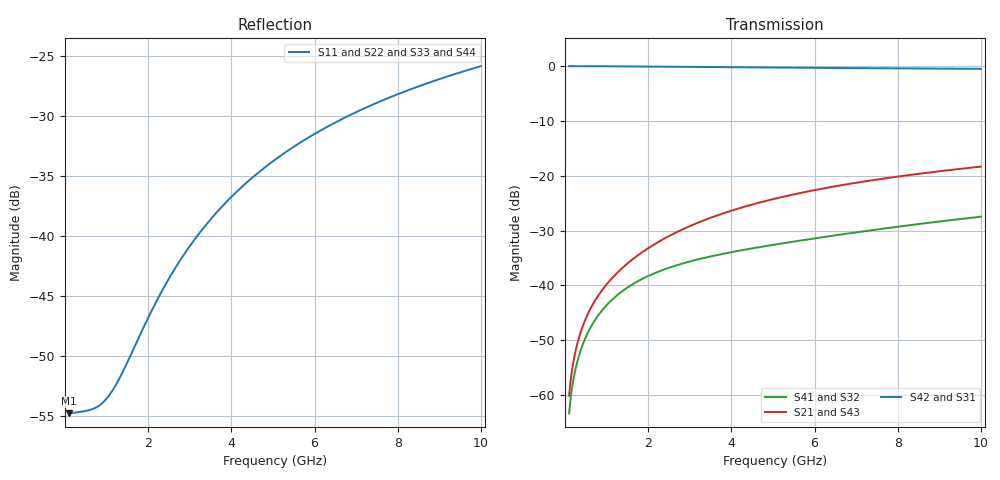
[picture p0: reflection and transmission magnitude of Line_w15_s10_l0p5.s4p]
! TOUCHSTONE file generated by CST MICROWAVE STUDIO
! Date and time: Mon Oct 20 11:14:17 2014
! Project name: Untitled_1.cst
# GHZ S MA R 50
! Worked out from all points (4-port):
!   1001 points, 100 MHz to 10 GHz, reference 50 ohm
!   strongest paths, dB at 100 MHz, 2.575 GHz, 5.05 GHz, 7.525 GHz, 10 GHz:
!     S42: 0.0, -0.1, -0.3, -0.4, -0.5
!     S31: 0.0, -0.1, -0.3, -0.4, -0.5
!     S21: -60.1, -30.7, -24.2, -20.7, -18.3
!     S43: -60.1, -30.7, -24.2, -20.7, -18.3
!     S41: -63.3, -36.6, -32.6, -29.8, -27.5
!     S32: -63.3, -36.6, -32.6, -29.8, -27.5
!   lowest |S11| = -54.7 dB at 100 MHz (marker M1), VSWR 1.00, Z = 50.2 - j0.0204 ohm
!   |S11| at or under -10 dB: start of sweep to end of sweep
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0.1  0.001833 -6.4  0.000987 90.4  0.9981 -0.2  0.0006801 -91.1
     0.000987 90.4  0.001833 -6.4  0.0006801 -91.1  0.9981 -0.2
     0.9981 -0.2  0.0006801 -91.1  0.001833 -6.4  0.000987 90.4
     0.0006801 -91.1  0.9981 -0.2  0.000987 90.4  0.001833 -6.4
0.3475  0.001857 -23.4  0.003439 91.3  0.9978 -0.8  0.00235 -93.6
        0.003439 91.3  0.00186 -23.6  0.00235 -93.6  0.9978 -0.8
        0.9978 -0.8  0.00235 -93.6  0.001857 -23.4  0.003439 91.3
        0.00235 -93.6  0.9978 -0.8  0.003439 91.3  0.00186 -23.6
0.7633  0.001945 -57.9  0.007676 92.7  0.9966 -1.8  0.005087 -97.6
        0.007676 92.7  0.00196 -58.2  0.005087 -97.6  0.9966 -1.8
        0.9966 -1.8  0.005087 -97.6  0.001944 -57.9  0.007676 92.7
        0.005087 -97.6  0.9966 -1.8  0.007676 92.7  0.001961 -58.2
1.4365  0.002833 -116.8  0.01507 93.9  0.9933 -3.2  0.009177 -103.6
        0.01507 93.9  0.002867 -116.6  0.009177 -103.6  0.9933 -3.2
        0.9933 -3.2  0.009177 -103.6  0.002834 -116.9  0.01507 93.9
        0.009177 -103.6  0.9933 -3.2  0.01507 93.9  0.002866 -116.5
2.4166  0.006286 -166.1  0.02706 93.2  0.987 -5.2  0.0141 -110.2
        0.02706 93.2  0.006312 -165.6  0.01409 -110.2  0.987 -5.2
        0.987 -5.2  0.01409 -110.2  0.006293 -166.1  0.02706 93.2
        0.0141 -110.2  0.987 -5.2  0.02706 93.2  0.006302 -165.5
5.2678  0.02212 141.2  0.06456 85.1  0.9676 -10.4  0.02428 -116.6
        0.06456 85.1  0.02209 141.6  0.02428 -116.6  0.9676 -10.4
        0.9676 -10.4  0.02428 -116.6  0.02215 141.3  0.06456 85.1
        0.02428 -116.6  0.9676 -10.4  0.06456 85.1  0.02204 141.5
10  0.05095 105.7  0.1211 73.1  0.9439 -17.9  0.04228 -120.7
    0.1211 73.1  0.05082 106.0  0.04228 -120.6  0.9439 -17.9
    0.9439 -17.9  0.04228 -120.6  0.05103 105.8  0.1211 73.1
    0.04228 -120.7  0.9439 -17.9  0.1211 73.1  0.05071 105.8
